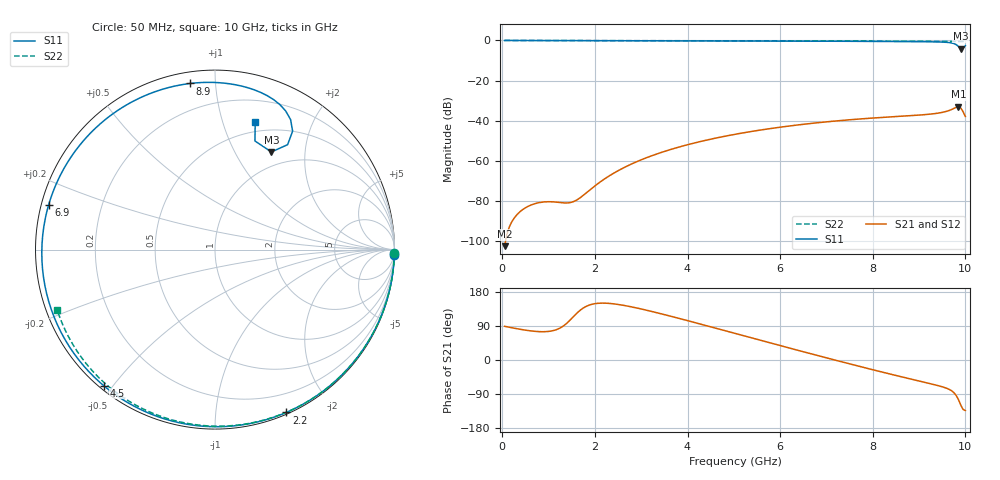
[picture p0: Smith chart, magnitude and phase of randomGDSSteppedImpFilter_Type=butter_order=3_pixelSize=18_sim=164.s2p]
! freq	dB(S11)	phase(S11)	dB(S12)	phase(S12)
!  dB(S21)	phase(S21)	dB(S22)	phase(S22)
!S-par simulation data
#  GHz  S  DB  R 50
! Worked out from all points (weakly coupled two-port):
!   200 points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, 50 MHz to 10 GHz, reference 50 ohm
!   highest |S21| = -33.02 dB at 9.85 GHz (marker M1); lowest = -102.4 dB at 50 MHz (marker M2)
!   lowest |S11| = -4.0 dB at 9.9 GHz (marker M3), VSWR 4.38, Z = 39.5 + j71 ohm
!   |S11| at or under -10 dB: nowhere
!   |S22| runs from -0.5 to 0.0 dB; largest |S21 - S12| = 0
!   S11 on the Smith chart (normalised r, x): 50 MHz: 0, -73; 2.2 GHz: 0.02, -1.53; 4.5 GHz: 0.01, -0.47; 6.9 GHz: 0.02, +0.13; 8.9 GHz: 0.06, +0.86; 10 GHz: 0.41, +1.28
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0.05  -0.00 -1.6  -102.45 88.9  -102.45 88.9  -0.00 -0.9
0.75  -0.03 -23.2  -80.99 75.2  -80.99 75.2  -0.02 -13.7
1.55  -0.06 -47.4  -80.14 116.2  -80.14 116.2  -0.04 -28.1
1.75  -0.07 -53.3  -77.12 137.3  -77.12 137.3  -0.04 -31.7
2.2  -0.08 -66.4  -69.09 150.1  -69.09 150.1  -0.05 -39.6
2.75  -0.10 -82.0  -61.95 141.2  -61.95 141.2  -0.06 -49.1
3.4  -0.13 -99.9  -56.03 122.9  -56.03 122.9  -0.08 -60.1
4.5  -0.18 -129.3  -49.17 87.6  -49.17 87.6  -0.11 -78.0
5.05  -0.21 -143.8  -46.63 69.4  -46.63 69.4  -0.13 -86.6
5.9  -0.27 -166.7  -43.51 41.3  -43.51 41.3  -0.17 -99.5
6.7  -0.34 170.8  -41.24 15.3  -41.24 15.3  -0.22 -111.4
6.9  -0.36 165.0  -40.76 8.9  -40.76 8.9  -0.23 -114.3
7.6  -0.42 143.6  -39.31 -13.3  -39.31 -13.3  -0.28 -124.4
8.35  -0.50 118.6  -38.11 -36.4  -38.11 -36.4  -0.35 -135.2
8.9  -0.58 98.6  -37.33 -52.6  -37.33 -52.6  -0.40 -143.0
9.25  -0.66 84.7  -36.67 -62.7  -36.67 -62.7  -0.44 -148.1
9.55  -0.86 71.3  -35.57 -72.6  -35.57 -72.6  -0.47 -152.5
9.75  -1.54 59.8  -33.87 -86.0  -33.87 -86.0  -0.50 -155.4
9.85  -2.96 55.3  -33.02 -104.5  -33.02 -104.5  -0.51 -156.9
9.9  -4.04 60.0  -33.60 -118.9  -33.60 -118.9  -0.52 -157.6
9.95  -3.81 69.8  -35.47 -130.6  -35.47 -130.6  -0.52 -158.4
10  -2.58 72.4  -37.91 -133.4  -37.91 -133.4  -0.53 -159.1
